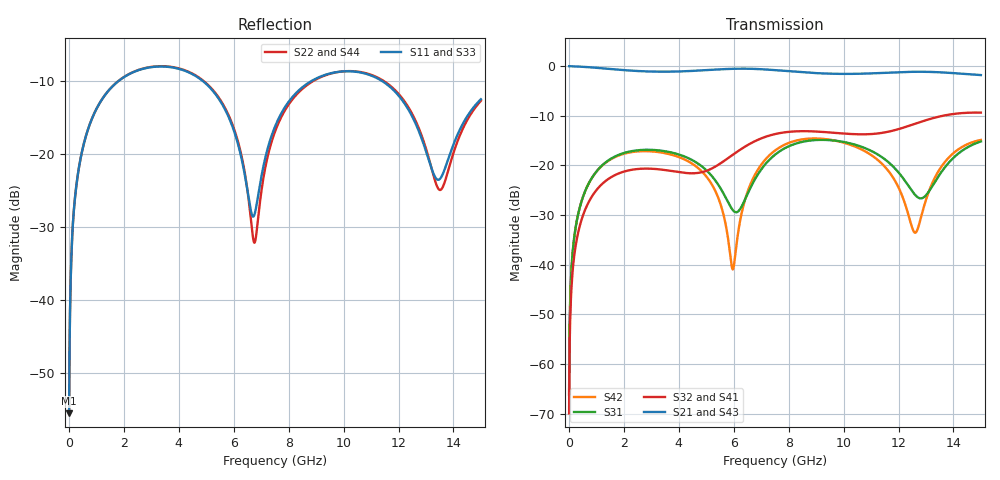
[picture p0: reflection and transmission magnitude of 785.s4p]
! Created with skrf 1.8.0 (http://scikit-rf.org).
# GHz S RI R 50.0
!freq ReS11 ImS11 ReS12 ImS12 ReS13 ImS13
! ReS14 ImS14
! ReS21 ImS21 ReS22 ImS22 ReS23 ImS23
! ReS24 ImS24
! ReS31 ImS31 ReS32 ImS32 ReS33 ImS33
! ReS34 ImS34
! ReS41 ImS41 ReS42 ImS42 ReS43 ImS43
! ReS44 ImS44
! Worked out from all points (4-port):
!   2499 points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, 5 MHz to 15 GHz, reference 50 ohm
!   strongest paths, dB at 5 MHz, 3.476 GHz, 7.19 GHz, 11.1 GHz, 15 GHz:
!     S21: 0.0, -1.1, -0.7, -1.4, -1.8
!     S43: 0.0, -1.1, -0.7, -1.5, -1.8
!     S32: -70.0, -20.9, -14.2, -13.7, -9.4
!     S41: -70.0, -21.0, -14.2, -13.7, -9.4
!     S31: -66.2, -17.1, -19.5, -17.3, -15.2
!     S42: -66.2, -17.5, -18.6, -18.3, -14.9
!   lowest |S11| = -55.5 dB at 5 MHz (marker M1), VSWR 1.00, Z = 50.1 + j0.103 ohm
!   |S11| at or under -10 dB: start of sweep to 1.795 GHz; 4.884 GHz to 8.816 GHz (3.933 GHz wide, 57.4 % of centre); 11.41 GHz to end of sweep
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0.005  0.00134 0.00103  0.9986 -0.00261  6.49e-05 0.000487  -6.33e-05 -0.000311
       0.9986 -0.00261  0.00134 0.00103  -6.33e-05 -0.000311  6.49e-05 0.000487
       6.49e-05 0.000487  -6.33e-05 -0.000311  0.00134 0.00102  0.9986 -0.00261
       -6.33e-05 -0.000311  6.49e-05 0.000487  0.9986 -0.00261  0.00134 0.00102
0.3626511  0.0213 0.0783  0.9708 -0.1883  0.00937 0.0337  -0.00768 -0.0214
           0.9708 -0.1883  0.0213 0.0783  -0.00768 -0.0214  0.00891 0.0338
           0.00937 0.0337  -0.00768 -0.0214  0.0213 0.0783  0.9708 -0.1883
           -0.00768 -0.0214  0.00891 0.0338  0.9708 -0.1883  0.0214 0.0783
1.825761  0.2585 0.1879  0.5758 -0.7165  0.1161 0.0542  -0.0825 -0.0107
          0.5758 -0.7165  0.2605 0.1866  -0.0826 -0.0105  0.1099 0.0621
          0.1161 0.0542  -0.0826 -0.0105  0.2585 0.1879  0.5758 -0.7165
          -0.0825 -0.0107  0.1099 0.0621  0.5758 -0.7165  0.2606 0.1865
5.958733  0.0841 -0.1289  -0.8516 -0.3964  -0.0303 -0.0188  -0.0508 0.1169
          -0.8516 -0.3964  0.0753 -0.1397  -0.0486 0.1179  0.00878 0.00183
          -0.0303 -0.0188  -0.0486 0.1179  0.0846 -0.1291  -0.8515 -0.3964
          -0.0508 0.1169  0.00878 0.00183  -0.8515 -0.3964  0.0752 -0.1402
6.665277  0.0372 -0.00952  -0.9359 -0.0763  -0.0203 0.0606  -0.0117 0.169
          -0.9359 -0.0763  0.0243 -0.0182  -0.00877 0.1692  0.0198 0.0673
          -0.0203 0.0606  -0.00877 0.1692  0.0374 -0.0101  -0.9359 -0.0762
          -0.0117 0.169  0.0198 0.0673  -0.9359 -0.0762  0.0244 -0.0185
10.76073  0.3481 -0.083  0.1378 0.8289  0.105 -0.107  0.1857 -0.0833
          0.1378 0.8289  0.3514 -0.0826  0.1847 -0.0902  0.1099 -0.0862
          0.105 -0.107  0.1847 -0.0902  0.3487 -0.0803  0.1383 0.8283
          0.1857 -0.0833  0.1099 -0.0862  0.1383 0.8283  0.3529 -0.086
15  0.1993 0.1302  0.6803 -0.4439  0.1607 0.0669  -0.2212 -0.2568
    0.6803 -0.4439  0.1886 0.1358  -0.2316 -0.2491  0.1629 0.0773
    0.1607 0.0669  -0.2316 -0.2491  0.1988 0.1263  0.6797 -0.4451
    -0.2212 -0.2568  0.1629 0.0773  0.6797 -0.4451  0.1884 0.1372
